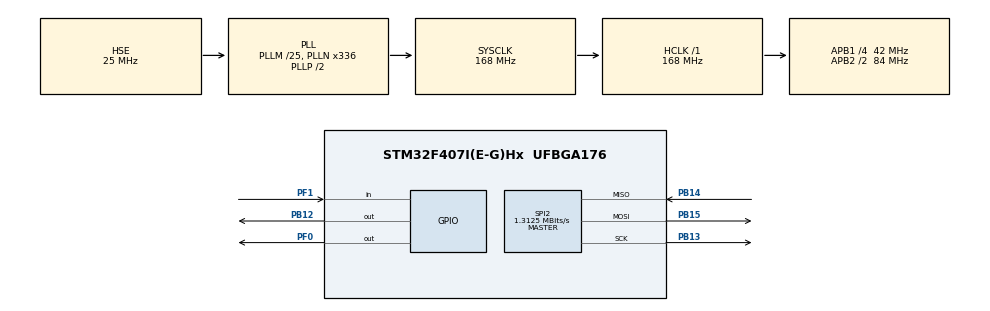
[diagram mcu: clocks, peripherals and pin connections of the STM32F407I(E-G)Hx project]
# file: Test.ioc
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Mcu.Family=STM32F4
Mcu.Name=STM32F407I(E-G)Hx
Mcu.Package=UFBGA176
NVIC.PriorityGroup=NVIC_PRIORITYGROUP_4
NVIC.TIM2_IRQn=true\:0\:0\:false\:false\:true\:true\:true\:true
PB12.Signal=GPIO_Output
PB13.Mode=Full_Duplex_Master
PB13.Signal=SPI2_SCK
PB14.Mode=Full_Duplex_Master
PB14.Signal=SPI2_MISO
PB15.Mode=Full_Duplex_Master
PB15.Signal=SPI2_MOSI
PF0.Signal=GPIO_Output
PF1.Signal=GPIO_Input
PH0-OSC_IN.Mode=HSE-External-Oscillator
PH0-OSC_IN.Signal=RCC_OSC_IN
PH1-OSC_OUT.Mode=HSE-External-Oscillator
PH1-OSC_OUT.Signal=RCC_OSC_OUT
ProjectManager.HeapSize=0x200
ProjectManager.StackSize=0x400
ProjectManager.TargetToolchain=MDK-ARM V5
RCC.48MHZClocksFreq_Value=84000000
RCC.AHBFreq_Value=168000000
RCC.APB1CLKDivider=RCC_HCLK_DIV4
RCC.APB1Freq_Value=42000000
RCC.APB1TimFreq_Value=84000000
RCC.APB2CLKDivider=RCC_HCLK_DIV2
RCC.APB2Freq_Value=84000000
RCC.APB2TimFreq_Value=168000000
RCC.CortexFreq_Value=168000000
RCC.HCLKFreq_Value=168000000
RCC.HSE_VALUE=25000000
RCC.HSI_VALUE=16000000
RCC.LSE_VALUE=32768
RCC.PLLM=25
RCC.PLLN=336
RCC.PLLSourceVirtual=RCC_PLLSOURCE_HSE
RCC.SYSCLKFreq_VALUE=168000000
RCC.SYSCLKSource=RCC_SYSCLKSOURCE_PLLCLK
RCC.VCOOutputFreq_Value=336000000
SPI2.BaudRatePrescaler=SPI_BAUDRATEPRESCALER_32
SPI2.CalculateBaudRate=1.3125 MBits/s
SPI2.Direction=SPI_DIRECTION_2LINES
SPI2.Mode=SPI_MODE_MASTER
SPI2.VirtualType=VM_MASTER
TIM2.Period=1000-1
TIM2.Prescaler=168-1
VP_TIM2_VS_ClockSourceINT.Mode=Internal
board=custom

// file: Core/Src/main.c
/* USER CODE BEGIN Header */
/**
  ******************************************************************************
  * @file           : main.c
  * @brief          : Main program body
  ******************************************************************************
  * @attention
  *
  * Copyright (c) 2023 STMicroelectronics.
  * All rights reserved.
  *
  * This software is licensed under terms that can be found in the LICENSE file
  * in the root directory of this software component.
  * If no LICENSE file comes with this software, it is provided AS-IS.
  *
  ******************************************************************************
  */
/* USER CODE END Header */
#include "main.h"
#include "spi.h"
#include "tim.h"
#include "gpio.h"

void SystemClock_Config(void);

/* USER CODE BEGIN 0 */
const char *g_Ashining = "ashining";
uint8_t g_TxMode = 0, g_UartRxFlag = 0;
uint8_t g_UartRxBuffer[ 100 ] = { 0 };
uint8_t g_RF24L01RxBuffer[ 32 ] = { 0 };
uint8_t test_status = 0;
uint8_t tx_state = 0;
/* USER CODE END 0 */

int main(void)
{

  /* MCU Configuration--------------------------------------------------------*/

  /* Reset of all peripherals, Initializes the Flash interface and the Systick. */
  HAL_Init();

  /* Configure the system clock */
  SystemClock_Config();

  /* Initialize all configured peripherals */
  MX_GPIO_Init();
  MX_SPI2_Init();
  MX_TIM2_Init();
  /* USER CODE BEGIN 2 */
	uint8_t i = 0;

	//串口初始化
//	drv_uart_init( 9600 );

	//延时初始化
//	drv_delay_init( );

	//LED初始化
	drv_led_init( );

	//SPI初始化
//	drv_spi_init( );

	//RF24L01引脚初始化
	NRF24L01_Gpio_Init( );

	//检测nRF24L01
	NRF24L01_check( );

	//RF24L01初始化
	RF24L01_Init( );

	//LED指示灯默认关闭，便于观察
	led_red_off( );
//	led_green_off( );
	for( i = 0; i < 6; i++ )
	{
		led_red_flashing( );
//		led_green_flashing( );
		drv_delay_500Ms( 1 );  //检测到芯片 闪烁3个周期
	}

#ifdef	__RF24L01_TX_TEST__
//=========================================================================================//
//*****************************************************************************************//
//************************************* 发送 **********************************************//
//*****************************************************************************************//
//=========================================================================================//

	//按键初始化
//	drv_button_init( );

		//发送模式
	while( 1 )
	{
		//模式切换
//		if( BUTOTN_PRESS_DOWN == drv_button_check( ))
//		{
////			g_TxMode = 1 - g_TxMode;		//模式会在 TX_MODE_1( 0 ),TX_MODE_2( 1 )之间切换
//
//			//状态显示清零
//			led_green_off( );
//			led_red_off( );
//
//			if( TX_MODE_1 == g_TxMode )
//			{
//				for( i = 0; i < 6; i++ )
//				{
////					led_red_flashing( );	//固定发送模式，红灯闪烁3次
//					drv_delay_500Ms( 1 );
//				}
//			}
//			else
//			{
//				for( i = 0; i < 6; i++ )
//				{
//					led_green_flashing( );	//串口发送模式，绿灯闪烁3次
//					drv_delay_500Ms( 1 );
//				}
//			}
//		}

		//发送
		if(tx_state == 0)
		{
			RF24L01_Set_Mode( MODE_TX );
			led_red_flashing( );
			NRF24L01_TxPacket( (uint8_t *)g_Ashining, 8 );		//模式1发送固定字符,1S一包
			tx_state = 1;
//			drv_delay_500Ms( 1 );
//			drv_delay_500Ms( 1 );

		}
		else
		{
//			//查询串口数据
//			i = drv_uart_rx_bytes( g_UartRxBuffer );
//
//			if( 0 != i )
//			{
//				NRF24L01_TxPacket( g_UartRxBuffer, i );
//				led_red_flashing( );
//			}
			RF24L01_Set_Mode(MODE_RX);
			test_status = NRF24L01_RxPacket(g_RF24L01RxBuffer);
			if(0 != test_status)
			{
				led_red_flashing();
				tx_state = 0;
				test_status = 0;
				drv_delay_500Ms( 1 );
				drv_delay_500Ms( 1 );
//				drv_delay_500Ms( 1 );
//				drv_delay_500Ms( 1 );
			}
		}
	}

#else
//=========================================================================================//
//*****************************************************************************************//
//************************************* 接收 **********************************************//
//*****************************************************************************************//
//=========================================================================================//

	RF24L01_Set_Mode( MODE_RX );		//接收模式
	while( 1 )
	{
		i = NRF24L01_RxPacket( g_RF24L01RxBuffer );		//接收字节
		test_status = i;
		if( 0 != i )
		{
			led_red_flashing( );
			RF24L01_Set_Mode( MODE_TX );
			NRF24L01_TxPacket( (uint8_t *)g_Ashining, 8 );
			i = 0;
			drv_delay_500Ms( 1 );
			drv_delay_500Ms( 1 );
//			drv_uart_tx_bytes( g_RF24L01RxBuffer,i);	//输出接收到的字节

		}
	}

#endif
  /* USER CODE END 2 */

  /* Infinite loop */
  /* USER CODE BEGIN WHILE */
//  while (1)
//  {
    /* USER CODE END WHILE */

    /* USER CODE BEGIN 3 */
//  }
  /* USER CODE END 3 */
}

void SystemClock_Config(void)
{
  RCC_OscInitTypeDef RCC_OscInitStruct = {0};
  RCC_ClkInitTypeDef RCC_ClkInitStruct = {0};

  /** Configure the main internal regulator output voltage
  */
  __HAL_RCC_PWR_CLK_ENABLE();
  __HAL_PWR_VOLTAGESCALING_CONFIG(PWR_REGULATOR_VOLTAGE_SCALE1);

  /** Initializes the RCC Oscillators according to the specified parameters
  * in the RCC_OscInitTypeDef structure.
  */
  RCC_OscInitStruct.OscillatorType = RCC_OSCILLATORTYPE_HSE;
  RCC_OscInitStruct.HSEState = RCC_HSE_ON;
  RCC_OscInitStruct.PLL.PLLState = RCC_PLL_ON;
  RCC_OscInitStruct.PLL.PLLSource = RCC_PLLSOURCE_HSE;
  RCC_OscInitStruct.PLL.PLLM = 25;
  RCC_OscInitStruct.PLL.PLLN = 336;
  RCC_OscInitStruct.PLL.PLLP = RCC_PLLP_DIV2;
  RCC_OscInitStruct.PLL.PLLQ = 4;
  if (HAL_RCC_OscConfig(&RCC_OscInitStruct) != HAL_OK)
  {
    Error_Handler();
  }

  /** Initializes the CPU, AHB and APB buses clocks
  */
  RCC_ClkInitStruct.ClockType = RCC_CLOCKTYPE_HCLK|RCC_CLOCKTYPE_SYSCLK
                              |RCC_CLOCKTYPE_PCLK1|RCC_CLOCKTYPE_PCLK2;
  RCC_ClkInitStruct.SYSCLKSource = RCC_SYSCLKSOURCE_PLLCLK;
  RCC_ClkInitStruct.AHBCLKDivider = RCC_SYSCLK_DIV1;
  RCC_ClkInitStruct.APB1CLKDivider = RCC_HCLK_DIV4;
  RCC_ClkInitStruct.APB2CLKDivider = RCC_HCLK_DIV2;

  if (HAL_RCC_ClockConfig(&RCC_ClkInitStruct, FLASH_LATENCY_5) != HAL_OK)
  {
    Error_Handler();
  }
}

void Error_Handler(void)
{
  __disable_irq();
  while (1)
  {
  }
}
